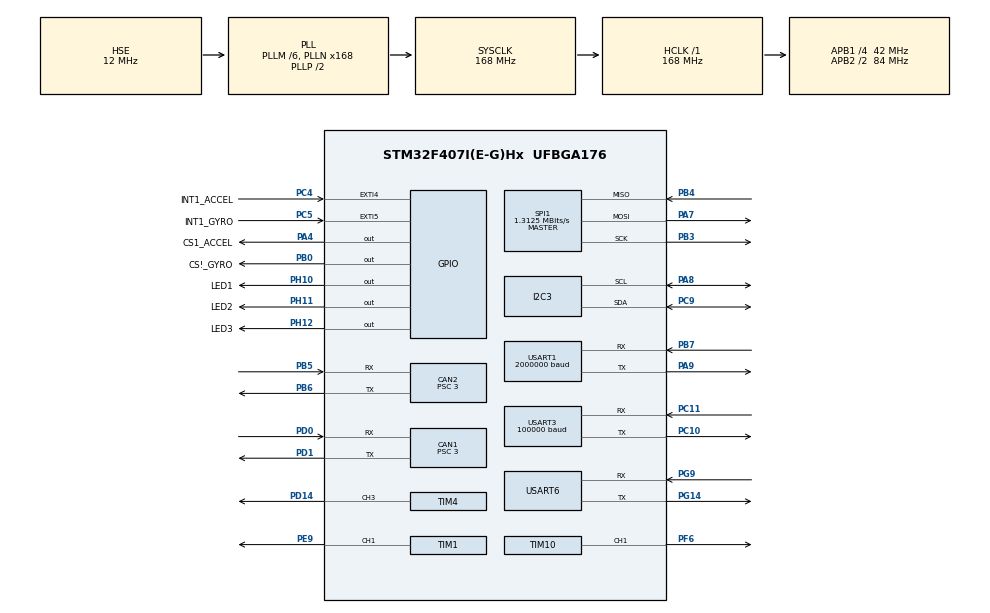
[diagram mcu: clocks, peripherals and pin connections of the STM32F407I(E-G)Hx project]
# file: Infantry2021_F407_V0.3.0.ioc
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CAN1.BS1=CAN_BS1_9TQ
CAN1.BS2=CAN_BS2_4TQ
CAN1.CalculateBaudRate=1000000
CAN1.CalculateTimeBit=999.99
CAN1.CalculateTimeQuantum=71.42857142857143
CAN1.Prescaler=3
CAN1.SJW=CAN_SJW_2TQ
CAN2.BS1=CAN_BS1_9TQ
CAN2.BS2=CAN_BS2_4TQ
CAN2.CalculateBaudRate=1000000
CAN2.CalculateTimeBit=999.99
CAN2.CalculateTimeQuantum=71.42857142857143
CAN2.Prescaler=3
CAN2.SJW=CAN_SJW_2TQ
Dma.Request0=USART3_RX
Dma.Request1=USART6_RX
Dma.Request2=USART6_TX
Dma.Request3=USART1_RX
Dma.Request4=USART1_TX
Dma.USART1_RX.3.Direction=DMA_PERIPH_TO_MEMORY
Dma.USART1_RX.3.FIFOMode=DMA_FIFOMODE_DISABLE
Dma.USART1_RX.3.Instance=DMA2_Stream2
Dma.USART1_RX.3.MemDataAlignment=DMA_MDATAALIGN_BYTE
Dma.USART1_RX.3.MemInc=DMA_MINC_ENABLE
Dma.USART1_RX.3.Mode=DMA_NORMAL
Dma.USART1_RX.3.PeriphDataAlignment=DMA_PDATAALIGN_BYTE
Dma.USART1_RX.3.PeriphInc=DMA_PINC_DISABLE
Dma.USART1_RX.3.Priority=DMA_PRIORITY_HIGH
Dma.USART1_TX.4.Direction=DMA_MEMORY_TO_PERIPH
Dma.USART1_TX.4.FIFOMode=DMA_FIFOMODE_DISABLE
Dma.USART1_TX.4.Instance=DMA2_Stream7
Dma.USART1_TX.4.MemDataAlignment=DMA_MDATAALIGN_BYTE
Dma.USART1_TX.4.MemInc=DMA_MINC_ENABLE
Dma.USART1_TX.4.Mode=DMA_NORMAL
Dma.USART1_TX.4.PeriphDataAlignment=DMA_PDATAALIGN_BYTE
Dma.USART1_TX.4.PeriphInc=DMA_PINC_DISABLE
Dma.USART1_TX.4.Priority=DMA_PRIORITY_HIGH
Dma.USART3_RX.0.Direction=DMA_PERIPH_TO_MEMORY
Dma.USART3_RX.0.FIFOMode=DMA_FIFOMODE_DISABLE
Dma.USART3_RX.0.Instance=DMA1_Stream1
Dma.USART3_RX.0.MemDataAlignment=DMA_MDATAALIGN_BYTE
Dma.USART3_RX.0.MemInc=DMA_MINC_ENABLE
Dma.USART3_RX.0.Mode=DMA_NORMAL
Dma.USART3_RX.0.PeriphDataAlignment=DMA_PDATAALIGN_BYTE
Dma.USART3_RX.0.PeriphInc=DMA_PINC_DISABLE
Dma.USART3_RX.0.Priority=DMA_PRIORITY_VERY_HIGH
Dma.USART6_RX.1.Direction=DMA_PERIPH_TO_MEMORY
Dma.USART6_RX.1.FIFOMode=DMA_FIFOMODE_DISABLE
Dma.USART6_RX.1.Instance=DMA2_Stream1
Dma.USART6_RX.1.MemDataAlignment=DMA_MDATAALIGN_BYTE
Dma.USART6_RX.1.MemInc=DMA_MINC_ENABLE
Dma.USART6_RX.1.Mode=DMA_NORMAL
Dma.USART6_RX.1.PeriphDataAlignment=DMA_PDATAALIGN_BYTE
Dma.USART6_RX.1.PeriphInc=DMA_PINC_DISABLE
Dma.USART6_RX.1.Priority=DMA_PRIORITY_HIGH
Dma.USART6_TX.2.Direction=DMA_MEMORY_TO_PERIPH
Dma.USART6_TX.2.FIFOMode=DMA_FIFOMODE_DISABLE
Dma.USART6_TX.2.Instance=DMA2_Stream6
Dma.USART6_TX.2.MemDataAlignment=DMA_MDATAALIGN_BYTE
Dma.USART6_TX.2.MemInc=DMA_MINC_ENABLE
Dma.USART6_TX.2.Mode=DMA_NORMAL
Dma.USART6_TX.2.PeriphDataAlignment=DMA_PDATAALIGN_BYTE
Dma.USART6_TX.2.PeriphInc=DMA_PINC_DISABLE
Dma.USART6_TX.2.Priority=DMA_PRIORITY_HIGH
FREERTOS.Tasks01=defaultTask,24,128,StartDefaultTask,Default,NULL,Dynamic,NULL,NULL;ImuTask,40,128,StartImuTask,Default,NULL,Dynamic,NULL,NULL;ShootTask,25,128,StartShootTask,Default,NULL,Dynamic,NULL,NULL;ChassisTask,25,128,StartChassisTask,Default,NULL,Dynamic,NULL,NULL;GimbalTask,41,128,StartGimbalTask,Default,NULL,Dynamic,NULL,NULL;RobotCMDTask,40,128,StartRobotCMDTask,Default,NULL,Dynamic,NULL,NULL;RefereeTask,24,128,StartRefereeTask,Default,NULL,Dynamic,NULL,NULL;SuperCabTask,24,128,StartSuperCabTask,Default,NULL,Dynamic,NULL,NULL
FREERTOS.Timers01=LED_Timer,LedTimer,osTimerPeriodic,Default,NULL,Dynamic,NULL;Supervise_Timer,SuperviseTimer,osTimerPeriodic,Default,NULL,Dynamic,NULL;PCTrans_Timer,PCTransTimer,osTimerPeriodic,Default,NULL,Dynamic,NULL
I2C3.I2C_Mode=I2C_Fast
Mcu.Family=STM32F4
Mcu.Name=STM32F407I(E-G)Hx
Mcu.Package=UFBGA176
NVIC.CAN1_RX0_IRQn=true\:5\:0\:false\:false\:true\:true\:true\:true
NVIC.CAN1_RX1_IRQn=true\:5\:0\:false\:false\:true\:true\:true\:true
NVIC.CAN2_RX0_IRQn=true\:5\:0\:false\:false\:true\:true\:true\:true
NVIC.CAN2_RX1_IRQn=true\:5\:0\:false\:false\:true\:true\:true\:true
NVIC.DMA1_Stream1_IRQn=true\:5\:0\:false\:false\:true\:true\:false\:true
NVIC.DMA2_Stream1_IRQn=true\:5\:0\:false\:false\:true\:true\:false\:true
NVIC.DMA2_Stream2_IRQn=true\:5\:0\:false\:false\:true\:true\:false\:true
NVIC.DMA2_Stream6_IRQn=true\:5\:0\:false\:false\:true\:true\:false\:true
NVIC.DMA2_Stream7_IRQn=true\:5\:0\:false\:false\:true\:true\:false\:true
NVIC.EXTI4_IRQn=true\:5\:0\:false\:false\:true\:true\:true\:true
NVIC.EXTI9_5_IRQn=true\:5\:0\:false\:false\:true\:true\:true\:true
NVIC.I2C3_EV_IRQn=true\:5\:0\:false\:false\:true\:true\:true\:true
NVIC.PriorityGroup=NVIC_PRIORITYGROUP_4
NVIC.SPI1_IRQn=true\:5\:0\:false\:false\:true\:true\:true\:true
NVIC.TIM7_IRQn=true\:0\:0\:false\:false\:true\:false\:false\:true
NVIC.TimeBase=TIM7_IRQn
NVIC.TimeBaseIP=TIM7
NVIC.USART1_IRQn=true\:5\:0\:false\:false\:true\:true\:true\:true
NVIC.USART3_IRQn=true\:5\:0\:false\:false\:true\:true\:true\:false
NVIC.USART6_IRQn=true\:5\:0\:false\:false\:true\:true\:true\:false
PA13.Mode=Serial_Wire
PA13.Signal=SYS_JTMS-SWDIO
PA14.Mode=Serial_Wire
PA14.Signal=SYS_JTCK-SWCLK
PA4.GPIO_Label=CS1_ACCEL
PA4.GPIO_PuPd=GPIO_PULLUP
PA4.GPIO_Speed=GPIO_SPEED_FREQ_HIGH
PA4.PinState=GPIO_PIN_SET
PA4.Signal=GPIO_Output
PA7.Mode=Full_Duplex_Master
PA7.Signal=SPI1_MOSI
PA8.GPIO_Pu=GPIO_PULLUP
PA8.Mode=I2C
PA8.Signal=I2C3_SCL
PA9.GPIO_PuPd=GPIO_PULLUP
PA9.Mode=Asynchronous
PA9.Signal=USART1_TX
PB0.GPIO_Label=CS\!_GYRO
PB0.GPIO_PuPd=GPIO_PULLUP
PB0.GPIO_Speed=GPIO_SPEED_FREQ_HIGH
PB0.PinState=GPIO_PIN_SET
PB0.Signal=GPIO_Output
PB3.Mode=Full_Duplex_Master
PB3.Signal=SPI1_SCK
PB4.Mode=Full_Duplex_Master
PB4.Signal=SPI1_MISO
PB5.Mode=CAN_Activate
PB5.Signal=CAN2_RX
PB6.Mode=CAN_Activate
PB6.Signal=CAN2_TX
PB7.GPIO_PuPd=GPIO_PULLUP
PB7.Mode=Asynchronous
PB7.Signal=USART1_RX
PC10.Mode=Asynchronous
PC10.Signal=USART3_TX
PC11.Mode=Asynchronous
PC11.Signal=USART3_RX
PC4.GPIO_Label=INT1_ACCEL
PC4.GPIO_PuPd=GPIO_PULLUP
PC4.Signal=GPXTI4
PC5.GPIO_Label=INT1_GYRO
PC5.GPIO_PuPd=GPIO_PULLUP
PC5.Signal=GPXTI5
PC9.GPIO_Pu=GPIO_PULLUP
PC9.Mode=I2C
PC9.Signal=I2C3_SDA
PD0.Mode=CAN_Activate
PD0.Signal=CAN1_RX
PD1.Mode=CAN_Activate
PD1.Signal=CAN1_TX
PD14.Signal=S_TIM4_CH3
PE9.Signal=S_TIM1_CH1
PF6.Signal=S_TIM10_CH1
PG14.Mode=Asynchronous
PG14.Signal=USART6_TX
PG9.Mode=Asynchronous
PG9.Signal=USART6_RX
PH0-OSC_IN.Mode=HSE-External-Oscillator
PH0-OSC_IN.Signal=RCC_OSC_IN
PH1-OSC_OUT.Mode=HSE-External-Oscillator
PH1-OSC_OUT.Signal=RCC_OSC_OUT
PH10.GPIO_Label=LED1
PH10.Signal=GPIO_Output
PH11.GPIO_Label=LED2
PH11.Signal=GPIO_Output
PH12.GPIO_Label=LED3
PH12.Signal=GPIO_Output
ProjectManager.HeapSize=0x3C00
ProjectManager.StackSize=0x5C00
ProjectManager.TargetToolchain=MDK-ARM V5.32
RCC.48MHZClocksFreq_Value=84000000
RCC.AHBFreq_Value=168000000
RCC.APB1CLKDivider=RCC_HCLK_DIV4
RCC.APB1Freq_Value=42000000
RCC.APB1TimFreq_Value=84000000
RCC.APB2CLKDivider=RCC_HCLK_DIV2
RCC.APB2Freq_Value=84000000
RCC.APB2TimFreq_Value=168000000
RCC.CortexFreq_Value=168000000
RCC.HCLKFreq_Value=168000000
RCC.HSE_VALUE=12000000
RCC.HSI_VALUE=16000000
RCC.LSE_VALUE=32768
RCC.PLLM=6
RCC.PLLN=168
RCC.PLLSourceVirtual=RCC_PLLSOURCE_HSE
RCC.SYSCLKFreq_VALUE=168000000
RCC.SYSCLKSource=RCC_SYSCLKSOURCE_PLLCLK
RCC.VCOOutputFreq_Value=336000000
SH.S_TIM10_CH1.0=TIM10_CH1,PWM Generation1 CH1
SH.S_TIM1_CH1.0=TIM1_CH1,PWM Generation1 CH1
SH.S_TIM4_CH3.0=TIM4_CH3,PWM Generation3 CH3
SPI1.BaudRatePrescaler=SPI_BAUDRATEPRESCALER_64
SPI1.CLKPhase=SPI_PHASE_2EDGE
SPI1.CLKPolarity=SPI_POLARITY_HIGH
SPI1.CalculateBaudRate=1.3125 MBits/s
SPI1.Direction=SPI_DIRECTION_2LINES
SPI1.Mode=SPI_MODE_MASTER
SPI1.VirtualType=VM_MASTER
TIM1.Channel-PWM\ Generation1\ CH1=TIM_CHANNEL_1
TIM1.Period=20000-1
TIM1.Prescaler=168-1
TIM10.Channel=TIM_CHANNEL_1
TIM10.Period=1000-1
TIM10.Prescaler=168-1
TIM14.AutoReloadPreload=TIM_AUTORELOAD_PRELOAD_ENABLE
TIM14.Period=65535
TIM14.Prescaler=84-1
TIM4.Channel-PWM\ Generation3\ CH3=TIM_CHANNEL_3
TIM4.Period=65535
TIM4.Prescaler=84-1
USART1.BaudRate=2000000
USART1.VirtualMode=VM_ASYNC
USART3.BaudRate=100000
USART3.Mode=MODE_RX
USART3.Parity=PARITY_EVEN
USART3.StopBits=STOPBITS_2
USART3.VirtualMode=VM_ASYNC
USART3.WordLength=WORDLENGTH_9B
USART6.VirtualMode=VM_ASYNC
VP_CRC_VS_CRC.Mode=CRC_Activate
VP_FREERTOS_VS_CMSIS_V2.Mode=CMSIS_V2
VP_SYS_VS_tim7.Mode=TIM7
VP_TIM10_VS_ClockSourceINT.Mode=Enable_Timer
VP_TIM14_VS_ClockSourceINT.Mode=Enable_Timer
board=custom

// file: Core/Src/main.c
/* USER CODE BEGIN Header */
/**
  ******************************************************************************
  * @file           : main.c
  * @brief          : Main program body
  ******************************************************************************
  * @attention
  *
  * <h2><center>&copy; Copyright (c) 2021 STMicroelectronics.
  * All rights reserved.</center></h2>
  *
  * This software component is licensed by ST under Ultimate Liberty license
  * SLA0044, the "License"; You may not use this file except in compliance with
  * the License. You may obtain a copy of the License at:
  *                             www.st.com/SLA0044
  *
  ******************************************************************************
  */
/* USER CODE END Header */
#include "main.h"
#include "cmsis_os.h"
#include "can.h"
#include "crc.h"
#include "dma.h"
#include "i2c.h"
#include "spi.h"
#include "tim.h"
#include "usart.h"
#include "gpio.h"

/* USER CODE BEGIN Includes */
#include "remote.h"
#include "AttitudeResolve.h"
#include "bsp_can.h"
#include "pc_communicate.h"
#include "referee.h"
#include "super_cap.h"
/* USER CODE END Includes */

void SystemClock_Config(void);
void MX_FREERTOS_Init(void);

int main(void)
{

  /* MCU Configuration--------------------------------------------------------*/

  /* Reset of all peripherals, Initializes the Flash interface and the Systick. */
  HAL_Init();

  /* Configure the system clock */
  SystemClock_Config();

  /* Initialize all configured peripherals */
  MX_GPIO_Init();
  MX_DMA_Init();
  MX_CAN1_Init();
  MX_CAN2_Init();
  MX_TIM1_Init();
  MX_TIM4_Init();
  MX_TIM10_Init();
  MX_I2C3_Init();
  MX_SPI1_Init();
  MX_USART1_UART_Init();
  MX_USART3_UART_Init();
  MX_USART6_UART_Init();
  MX_CRC_Init();
  MX_TIM14_Init();
  /* USER CODE BEGIN 2 */
	Remote_init();
	PC_Communicate_init();
	CanFilterInit(&hcan1);
	CanFilterInit(&hcan2);
	TIM1->CCR1 = 840;
	HAL_TIM_PWM_Start(&htim1, TIM_CHANNEL_1);
	HAL_TIM_PWM_Start(&htim4, TIM_CHANNEL_3);
	HAL_TIM_PWM_Start(&htim10, TIM_CHANNEL_1);
	HAL_GPIO_WritePin(GPIOH, GPIO_PIN_10, GPIO_PIN_RESET);
	HAL_GPIO_WritePin(GPIOH, GPIO_PIN_11, GPIO_PIN_RESET);
	HAL_GPIO_WritePin(GPIOH, GPIO_PIN_12, GPIO_PIN_RESET);
  /* USER CODE END 2 */

  /* Init scheduler */
  osKernelInitialize();  /* Call init function for freertos objects (in freertos.c) */
  MX_FREERTOS_Init();
  /* Start scheduler */
  osKernelStart();

  /* We should never get here as control is now taken by the scheduler */
  /* Infinite loop */
  while (1)
  {
  }

}

void SystemClock_Config(void)
{
  RCC_OscInitTypeDef RCC_OscInitStruct = {0};
  RCC_ClkInitTypeDef RCC_ClkInitStruct = {0};

  /** Configure the main internal regulator output voltage
  */
  __HAL_RCC_PWR_CLK_ENABLE();
  __HAL_PWR_VOLTAGESCALING_CONFIG(PWR_REGULATOR_VOLTAGE_SCALE1);
  /** Initializes the RCC Oscillators according to the specified parameters
  * in the RCC_OscInitTypeDef structure.
  */
  RCC_OscInitStruct.OscillatorType = RCC_OSCILLATORTYPE_HSE;
  RCC_OscInitStruct.HSEState = RCC_HSE_ON;
  RCC_OscInitStruct.PLL.PLLState = RCC_PLL_ON;
  RCC_OscInitStruct.PLL.PLLSource = RCC_PLLSOURCE_HSE;
  RCC_OscInitStruct.PLL.PLLM = 6;
  RCC_OscInitStruct.PLL.PLLN = 168;
  RCC_OscInitStruct.PLL.PLLP = RCC_PLLP_DIV2;
  RCC_OscInitStruct.PLL.PLLQ = 4;
  if (HAL_RCC_OscConfig(&RCC_OscInitStruct) != HAL_OK)
  {
    Error_Handler();
  }
  /** Initializes the CPU, AHB and APB buses clocks
  */
  RCC_ClkInitStruct.ClockType = RCC_CLOCKTYPE_HCLK|RCC_CLOCKTYPE_SYSCLK
                              |RCC_CLOCKTYPE_PCLK1|RCC_CLOCKTYPE_PCLK2;
  RCC_ClkInitStruct.SYSCLKSource = RCC_SYSCLKSOURCE_PLLCLK;
  RCC_ClkInitStruct.AHBCLKDivider = RCC_SYSCLK_DIV1;
  RCC_ClkInitStruct.APB1CLKDivider = RCC_HCLK_DIV4;
  RCC_ClkInitStruct.APB2CLKDivider = RCC_HCLK_DIV2;

  if (HAL_RCC_ClockConfig(&RCC_ClkInitStruct, FLASH_LATENCY_5) != HAL_OK)
  {
    Error_Handler();
  }
}

void HAL_TIM_PeriodElapsedCallback(TIM_HandleTypeDef *htim)
{
  if (htim->Instance == TIM7) {
    HAL_IncTick();
  }
}

void Error_Handler(void)
{
  __disable_irq();
  while (1)
  {
  }
}

/************************ (C) COPYRIGHT STMicroelectronics *****END OF FILE****/

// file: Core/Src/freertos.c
/* USER CODE BEGIN Header */
/**
  ******************************************************************************
  * File Name          : freertos.c
  * Description        : Code for freertos applications
  ******************************************************************************
  * @attention
  *
  * <h2><center>&copy; Copyright (c) 2021 STMicroelectronics.
  * All rights reserved.</center></h2>
  *
  * This software component is licensed by ST under Ultimate Liberty license
  * SLA0044, the "License"; You may not use this file except in compliance with
  * the License. You may obtain a copy of the License at:
  *                             www.st.com/SLA0044
  *
  ******************************************************************************
  */
/* USER CODE END Header */

#include "FreeRTOS.h"
#include "task.h"
#include "main.h"
#include "cmsis_os.h"

/* USER CODE BEGIN Includes */
#include "beep.h"
#include "supervise.h"
#include "BMI088driver.h"
#include "AttitudeResolve.h"
#include "pc_communicate.h"
#include "referee.h"
#include "fifo.h"
#include "super_cap.h"
#include "ui.h"
#include "robot.h"
#include "chassis.h"
#include "gimbal.h"
#include "shoot.h"
/* USER CODE END Includes */

/* USER CODE BEGIN Variables */
extern struct IMU_t bmi088;
extern struct Robot_t infantry;
extern fifo_s_t referee_fifo;
extern uint8_t referee_fifo_buf[REFEREE_FIFO_BUF_LENGTH];
extern int32_t pitchPowerSet;

/* USER CODE END Variables */
/* Definitions for defaultTask */
osThreadId_t defaultTaskHandle;
const osThreadAttr_t defaultTask_attributes = {
  .name = "defaultTask",
  .stack_size = 128 * 4,
  .priority = (osPriority_t) osPriorityNormal,
};
/* Definitions for ImuTask */
osThreadId_t ImuTaskHandle;
const osThreadAttr_t ImuTask_attributes = {
  .name = "ImuTask",
  .stack_size = 128 * 4,
  .priority = (osPriority_t) osPriorityHigh,
};
/* Definitions for ShootTask */
osThreadId_t ShootTaskHandle;
const osThreadAttr_t ShootTask_attributes = {
  .name = "ShootTask",
  .stack_size = 128 * 4,
  .priority = (osPriority_t) osPriorityNormal1,
};
/* Definitions for ChassisTask */
osThreadId_t ChassisTaskHandle;
const osThreadAttr_t ChassisTask_attributes = {
  .name = "ChassisTask",
  .stack_size = 128 * 4,
  .priority = (osPriority_t) osPriorityNormal1,
};
/* Definitions for GimbalTask */
osThreadId_t GimbalTaskHandle;
const osThreadAttr_t GimbalTask_attributes = {
  .name = "GimbalTask",
  .stack_size = 128 * 4,
  .priority = (osPriority_t) osPriorityHigh1,
};
/* Definitions for RobotCMDTask */
osThreadId_t RobotCMDTaskHandle;
const osThreadAttr_t RobotCMDTask_attributes = {
  .name = "RobotCMDTask",
  .stack_size = 128 * 4,
  .priority = (osPriority_t) osPriorityHigh,
};
/* Definitions for RefereeTask */
osThreadId_t RefereeTaskHandle;
const osThreadAttr_t RefereeTask_attributes = {
  .name = "RefereeTask",
  .stack_size = 128 * 4,
  .priority = (osPriority_t) osPriorityNormal,
};
/* Definitions for SuperCabTask */
osThreadId_t SuperCabTaskHandle;
const osThreadAttr_t SuperCabTask_attributes = {
  .name = "SuperCabTask",
  .stack_size = 128 * 4,
  .priority = (osPriority_t) osPriorityNormal,
};
/* Definitions for LED_Timer */
osTimerId_t LED_TimerHandle;
const osTimerAttr_t LED_Timer_attributes = {
  .name = "LED_Timer"
};
/* Definitions for Supervise_Timer */
osTimerId_t Supervise_TimerHandle;
const osTimerAttr_t Supervise_Timer_attributes = {
  .name = "Supervise_Timer"
};
/* Definitions for PCTrans_Timer */
osTimerId_t PCTrans_TimerHandle;
const osTimerAttr_t PCTrans_Timer_attributes = {
  .name = "PCTrans_Timer"
};

/* USER CODE BEGIN FunctionPrototypes */
osTimerId_t canBusTransmit_TimerHandle;
const osTimerAttr_t canBusTransmit_Timer_Attrtibutes = {
    .name = "canBusTransmit_Timer"
};

void canBusTransmitTimer(void *argument);
/* USER CODE END FunctionPrototypes */

void StartDefaultTask(void *argument);
void StartImuTask(void *argument);
void StartShootTask(void *argument);
void StartChassisTask(void *argument);
void StartGimbalTask(void *argument);
void StartRobotCMDTask(void *argument);
void StartRefereeTask(void *argument);
void StartSuperCabTask(void *argument);
void LedTimer(void *argument);
void SuperviseTimer(void *argument);
void PCTransTimer(void *argument);

void MX_FREERTOS_Init(void); /* (MISRA C 2004 rule 8.1) */

void MX_FREERTOS_Init(void) {

  /* Create the timer(s) */
  /* creation of LED_Timer */
  LED_TimerHandle = osTimerNew(LedTimer, osTimerPeriodic, NULL, &LED_Timer_attributes);

  /* creation of Supervise_Timer */
  Supervise_TimerHandle = osTimerNew(SuperviseTimer, osTimerPeriodic, NULL, &Supervise_Timer_attributes);

  /* creation of PCTrans_Timer */
  PCTrans_TimerHandle = osTimerNew(PCTransTimer, osTimerPeriodic, NULL, &PCTrans_Timer_attributes);

  /* USER CODE BEGIN RTOS_TIMERS */
  /* start timers, add new ones, ... */
    canBusTransmit_TimerHandle = osTimerNew(canBusTransmitTimer, osTimerPeriodic, NULL, &canBusTransmit_Timer_Attrtibutes);

	osTimerStart(LED_TimerHandle, 200);
	osTimerStart(Supervise_TimerHandle, 2);
	osTimerStart(PCTrans_TimerHandle, 7);
    osTimerStart(canBusTransmit_TimerHandle, 1);
  /* USER CODE END RTOS_TIMERS */

  /* Create the thread(s) */
  /* creation of defaultTask */
  defaultTaskHandle = osThreadNew(StartDefaultTask, NULL, &defaultTask_attributes);

  /* creation of ImuTask */
  ImuTaskHandle = osThreadNew(StartImuTask, NULL, &ImuTask_attributes);

  /* creation of ShootTask */
  ShootTaskHandle = osThreadNew(StartShootTask, NULL, &ShootTask_attributes);

  /* creation of ChassisTask */
  ChassisTaskHandle = osThreadNew(StartChassisTask, NULL, &ChassisTask_attributes);

  /* creation of GimbalTask */
  GimbalTaskHandle = osThreadNew(StartGimbalTask, NULL, &GimbalTask_attributes);

  /* creation of RobotCMDTask */
  RobotCMDTaskHandle = osThreadNew(StartRobotCMDTask, NULL, &RobotCMDTask_attributes);

  /* creation of RefereeTask */
  RefereeTaskHandle = osThreadNew(StartRefereeTask, NULL, &RefereeTask_attributes);

  /* creation of SuperCabTask */
  SuperCabTaskHandle = osThreadNew(StartSuperCabTask, NULL, &SuperCabTask_attributes);

}

void StartDefaultTask(void *argument)
{
  /* USER CODE BEGIN StartDefaultTask */
  /* Infinite loop */
  for(;;)
  {
	  if(bmi088.accBiasFound)
		  Beep();
	  osDelay(140);
  }
  /* USER CODE END StartDefaultTask */
}

void StartImuTask(void *argument)
{
  /* USER CODE BEGIN StartImuTask */
	portTickType currentTime;
	currentTime = xTaskGetTickCount();
	IMU_init(&bmi088);
	while(BMI088_init()){}
  /* Infinite loop */
  for(;;)
  {
	imuDataHandle(&bmi088);				//BMI088数据解算
	LostCounterFeed(GYRO_INDEX);
	vTaskDelayUntil(&currentTime, 2);
  }
  /* USER CODE END StartImuTask */
}

void StartShootTask(void *argument)
{
  /* USER CODE BEGIN StartShootTask */
  /* Infinite loop */
  portTickType currentTime;
	currentTime = xTaskGetTickCount();
  for(;;)
  {
    if(Remote.inputmode == RC_Remote)
		ShootCtrl_Remote();
	else if(Remote.inputmode == RC_MouseKey)
		ShootCtrl_MouseKey();
	ShootParamChange();
    //osDelay(2);
    vTaskDelayUntil(&currentTime, 2);
  }
  /* USER CODE END StartShootTask */
}

void StartChassisTask(void *argument)
{
  /* USER CODE BEGIN StartChassisTask */
  /* Infinite loop */
  portTickType currentTime;
	currentTime = xTaskGetTickCount();
  for(;;)
  {
	if(Remote.inputmode == RC_Remote)
		ChassisCtrl_Remote();
	else if(Remote.inputmode == RC_MouseKey)
		ChassisCtrl_MouseKey();
	chassis_distance_calc_task();
    ///CanTransmit_1234(&hcan2, 0,0,0,0);
	ChassisParamChange();
	//osDelay(2);
  vTaskDelayUntil(&currentTime, 2);
  }
  /* USER CODE END StartChassisTask */
}

void StartGimbalTask(void *argument)
{
  /* USER CODE BEGIN StartGimbalTask */
  /* Infinite loop */
  portTickType currentTime;
	currentTime = xTaskGetTickCount();
	GIMBAL_InitArgument();
  for(;;)
  {
	if(Remote.inputmode == RC_Remote)
		GimbalCtrl_Remote();
	else if(Remote.inputmode == RC_MouseKey)
		GimbalCtrl_MouseKey();
    //CanTransmit_9_12(&hcan1, 0,0,0,0);
    //CanTransmit_9_12(&hcan2, 0,0,0,0);
	GimbalParamChange();
    //osDelay(2);
    vTaskDelayUntil(&currentTime, 2);
  }
  /* USER CODE END StartGimbalTask */
}

void StartRobotCMDTask(void *argument)
{
  /* USER CODE BEGIN StartRobotCMDTask */
	RobotParamInit();
  /* Infinite loop */
  for(;;)
  {
	RobotStateChange();
    osDelay(2);
  }
  /* USER CODE END StartRobotCMDTask */
}

void StartRefereeTask(void *argument)
{
  /* USER CODE BEGIN StartRefereeTask */
	fifo_s_init(&referee_fifo, referee_fifo_buf, REFEREE_FIFO_BUF_LENGTH);
	USART6_Init();
	Referee_Data_Init();
	//InitUI();
  /* Infinite loop */
  for(;;)
  {
	Referee_Unpack_FIFO_Data();
	IsChange_Delete();
	UpdateCapPower();
    osDelay(100);
  }
  /* USER CODE END StartRefereeTask */
}

void StartSuperCabTask(void *argument)
{
  /* USER CODE BEGIN StartSuperCabTask */
  portTickType currentTime;
	currentTime = xTaskGetTickCount();
	SuperCap_init();
  /* Infinite loop */
  for(;;)
  {
	SuperCap_thread();
  vTaskDelayUntil(&currentTime, 2);
  }
  /* USER CODE END StartSuperCabTask */
}

/* LedTimer function */
void LedTimer(void *argument)
{
  /* USER CODE BEGIN LedTimer */
	static int LED_cnt = 0;
	switch(LED_cnt)
	{
	case 0: HAL_GPIO_TogglePin(GPIOH, GPIO_PIN_10);break;
	case 1: HAL_GPIO_TogglePin(GPIOH, GPIO_PIN_11);break;
	case 2: HAL_GPIO_TogglePin(GPIOH, GPIO_PIN_12);break;
	}
	if(LED_cnt == 2)
		LED_cnt = 0;
	else
		LED_cnt ++;
  /* USER CODE END LedTimer */
}

/* SuperviseTimer function */
void SuperviseTimer(void *argument)
{
  /* USER CODE BEGIN SuperviseTimer */
	SuperviseTaskHandle();

  /* USER CODE END SuperviseTimer */
}

/* PCTransTimer function */
void PCTransTimer(void *argument)
{
  /* USER CODE BEGIN PCTransTimer */
	static int PC_TX_cnt = 0;
	PC_TX_cnt ++;
	if(PC_TX_cnt & 1){
		//PcDataTramsmit(Pan);
	}
	if(PC_TX_cnt == 200){
		PcDataTramsmit(Config);
	}
	else if(PC_TX_cnt == 400){
		PcDataTramsmit(Speed);
		PC_TX_cnt = 0;
	}

  /* USER CODE END PCTransTimer */
}

/* USER CODE BEGIN Application */
void canBusTransmitTimer(void *argument)
{
    static uint8_t CAN_TX_CNT = 0;
    if (CAN_TX_CNT == 1)
    {
        CAN_TX_CNT = 0;
        if (infantry.WorkState == STOP)
        {
            CanTransmit_1234(&hcan1, 0, 0, 0, 0);
        }
        else
        {
            CanTransmit_1234(&hcan1, can1_motor_1.speed_pid.output, can1_motor_2.speed_pid.output, can1_motor_3.speed_pid.output, can1_motor_4.speed_pid.output);
        }
    }
    else if (CAN_TX_CNT == 0)
    {
        CAN_TX_CNT++;
        if (infantry.WorkState == STOP)
        {
            CanTransmit_5678(&hcan1, 0, 0, 0, 0);
        }
        else
        {
            CanTransmit_5678(&hcan1, can1_motor_5.speed_pid.output, can1_motor_6.speed_pid.output,pitchPowerSet,0);
        }
    }
}
/* USER CODE END Application */

/************************ (C) COPYRIGHT STMicroelectronics *****END OF FILE****/
